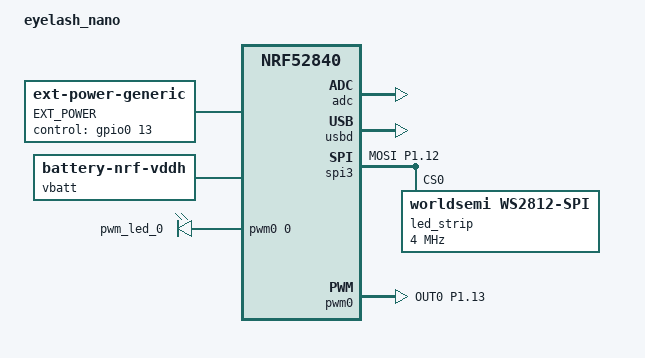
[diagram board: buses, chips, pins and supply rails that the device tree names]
/*
*
* Copyright (c) 2021 Darryl deHaan
* SPDX-License-Identifier: MIT
*
*/

/dts-v1/;
#include <nordic/nrf52840_qiaa.dtsi>
#include <dt-bindings/led/led.h>


/ {
    model = "eyelash_nano";
    compatible = "eyelash_nano";

    chosen {
        zephyr,code-partition = &code_partition;
        zephyr,sram = &sram0;
        zephyr,flash = &flash0;
        zmk,battery = &vbatt;
        zmk,underglow = &led_strip;
        zmk,backlight = &backlight;
    };

    EXT_POWER {
        compatible = "zmk,ext-power-generic";
        control-gpios = <&gpio0 13 GPIO_ACTIVE_HIGH>;
         init-delay-ms = <50>;
    };

    vbatt: vbatt {
        compatible = "zmk,battery-nrf-vddh";
        init-delay-ms = <50>;
    };

    backlight: pwmleds {
        compatible = "pwm-leds";
        pwm_led_0 {
            pwms = <&pwm0 0 PWM_MSEC(1) PWM_POLARITY_NORMAL>;
        };
    };
};

&adc {
    status = "okay";
};

&gpiote {
    status = "okay";
};

&gpio0 {
    status = "okay";
};

&gpio1 {
    status = "okay";
};

&usbd {
    status = "okay";
    cdc_acm_uart: cdc_acm_uart {
        compatible = "zephyr,cdc-acm-uart";
    };
};

&flash0 {
    /*
     * For more information, see:
     * http://docs.zephyrproject.org/latest/devices/dts/flash_partitions.html
     */
    partitions {
        compatible = "fixed-partitions";
        #address-cells = <1>;
        #size-cells = <1>;

        sd_partition: partition@0 {
            reg = <0x00000000 0x00026000>;
        };
        code_partition: partition@26000 {
            reg = <0x00026000 0x000c6000>;
        };

        /*
         * The flash starting at 0x000ec000 and ending at
         * 0x000f3fff is reserved for use by the application.
         */

        /*
         * Storage partition will be used by FCB/LittleFS/NVS
         * if enabled.
         */
        storage_partition: partition@ec000 {
            reg = <0x000ec000 0x00008000>;
        };

        boot_partition: partition@f4000 {
            reg = <0x000f4000 0x0000c000>;
        };
    };
};

&pinctrl {
    spi3_default: spi3_default {
        group1 {
            psels = <NRF_PSEL(SPIM_MOSI, 1, 12)>; // WS2812_VEXT_DATA
        };
    };

    spi3_sleep: spi3_sleep {
        group1 {
            psels = <NRF_PSEL(SPIM_MOSI, 1, 12)>;
            low-power-enable;
        };
    };

    spi0_default: spi0_default {
        group1 {
            psels = <NRF_PSEL(SPIM_SCK, 0, 20)>,
                <NRF_PSEL(SPIM_MOSI, 0, 17)>,
                <NRF_PSEL(SPIM_MISO, 0, 25)>;
        };
    };

    spi0_sleep: spi0_sleep {
        group1 {
            psels = <NRF_PSEL(SPIM_SCK, 0, 20)>,
                <NRF_PSEL(SPIM_MOSI, 0, 17)>,
                <NRF_PSEL(SPIM_MISO, 0, 25)>;
            low-power-enable;
        };
    };

    pwm0_default: pwm0_default {
        group1 {
            psels = <NRF_PSEL(PWM_OUT0, 1, 13)>;
        };
    };
    pwm0_sleep: pwm0_sleep {
        group1 {
            psels = <NRF_PSEL(PWM_OUT0, 1, 13)>;
            low-power-enable;
        };
    };
};

&spi3 {
    compatible = "nordic,nrf-spim";
    status = "okay";

    pinctrl-0 = <&spi3_default>;
    pinctrl-1 = <&spi3_sleep>;
    pinctrl-names = "default", "sleep";

    led_strip: ws2812@0 {
        compatible = "worldsemi,ws2812-spi";

        /* SPI */
        reg = <0>; /* ignored, but necessary for SPI bindings */
        spi-max-frequency = <4000000>;

        /* WS2812 */
        chain-length = <7>; /* 6 keys have underglow at the moment */
        spi-one-frame = <0x70>;
        spi-zero-frame = <0x40>;

        color-mapping = <LED_COLOR_ID_GREEN LED_COLOR_ID_RED LED_COLOR_ID_BLUE>;
    };
};

&pwm0 {
    status = "okay";
    pinctrl-0 = <&pwm0_default>;
    pinctrl-1 = <&pwm0_sleep>;
    pinctrl-names = "default", "sleep";
};

zephyr_udc0: &usbd {
    compatible = "nordic,nrf-usbd";
    status = "okay";
};
